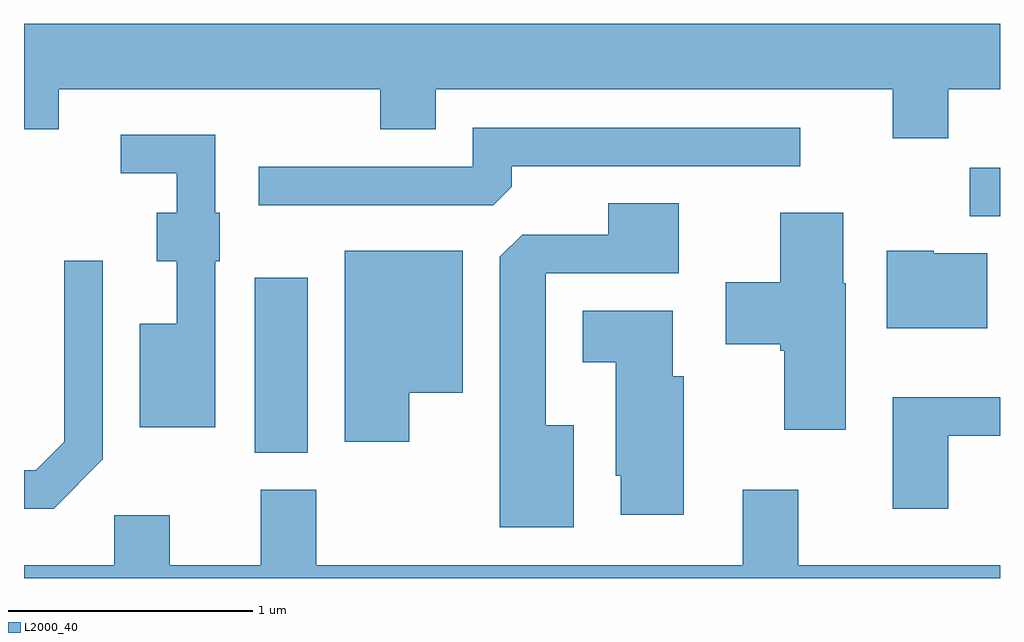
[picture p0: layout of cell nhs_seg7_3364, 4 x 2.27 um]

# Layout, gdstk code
import gdstk
lib = gdstk.Library(unit=1e-6, precision=1e-09)
def R(c, l, rs):  # rectangles x0, y0, x1, y1
    for r in rs: c.add(gdstk.rectangle(r[:2], r[2:], *l))
def P(c, l, *ps):  # polygons
    for p in ps: c.add(gdstk.Polygon(p, *l))
L2000_40 = (2000, 40)

nhs_seg7_3364 = lib.new_cell('nhs_seg7_3364')
R(nhs_seg7_3364, L2000_40, [(288.556,1772.766,288.774,1773.484), (291.486,1773.736,291.611,1773.934)])
P(nhs_seg7_3364, L2000_40, [(287.611,1774.091),(287.754,1774.091),(287.754,1774.256),(289.071,1774.256),(289.071,1774.091),(289.299,1774.091),(289.299,1774.256),(291.171,1774.256),(291.171,1774.056),(291.399,1774.056),(291.399,1774.256),(291.611,1774.256),(291.611,1774.524),(287.611,1774.524)],
  [(289.609,1773.857),(289.609,1773.941),(290.793,1773.941),(290.793,1774.099),(289.451,1774.099),(289.451,1773.939),(288.573,1773.939),(288.573,1773.781),(289.534,1773.781)],
  [(288.394,1773.551),(288.414,1773.551),(288.414,1773.749),(288.394,1773.749),(288.394,1774.069),(288.008,1774.069),(288.008,1773.911),(288.236,1773.911),(288.236,1773.749),(288.156,1773.749),(288.156,1773.551),(288.236,1773.551),(288.236,1773.294),(288.086,1773.294),(288.086,1772.871),(288.394,1772.871)],
  [(289.864,1772.879),(289.749,1772.879),(289.749,1773.501),(290.294,1773.501),(290.294,1773.789),(290.006,1773.789),(290.006,1773.659),(289.652,1773.659),(289.561,1773.569),(289.561,1772.461),(289.864,1772.461)],
  [(290.979,1773.46),(290.969,1773.46),(290.969,1773.749),(290.711,1773.749),(290.711,1773.464),(290.486,1773.464),(290.486,1773.211),(290.711,1773.211),(290.711,1773.185),(290.726,1773.185),(290.726,1772.861),(290.979,1772.861)],
  [(291.559,1773.584),(291.34,1773.584),(291.34,1773.594),(291.146,1773.594),(291.146,1773.276),(291.559,1773.276)],
  [(289.189,1773.011),(289.409,1773.011),(289.409,1773.594),(288.926,1773.594),(288.926,1772.811),(289.189,1772.811)],
  [(287.934,1772.739),(287.934,1773.553),(287.776,1773.553),(287.776,1772.812),(287.659,1772.694),(287.611,1772.694),(287.611,1772.536),(287.732,1772.536)],
  [(290.314,1773.079),(290.269,1773.079),(290.269,1773.349),(289.901,1773.349),(289.901,1773.136),(290.036,1773.136),(290.036,1772.671),(290.056,1772.671),(290.056,1772.511),(290.314,1772.511)],
  [(291.399,1772.836),(291.611,1772.836),(291.611,1772.994),(291.171,1772.994),(291.171,1772.536),(291.399,1772.536)],
  [(291.611,1772.304),(290.784,1772.304),(290.784,1772.614),(290.556,1772.614),(290.556,1772.304),(288.809,1772.304),(288.809,1772.614),(288.581,1772.614),(288.581,1772.304),(288.209,1772.304),(288.209,1772.509),(287.981,1772.509),(287.981,1772.304),(287.611,1772.304),(287.611,1772.252),(291.611,1772.252)])

lib.write_gds('nhs_seg7_3364.gds')
